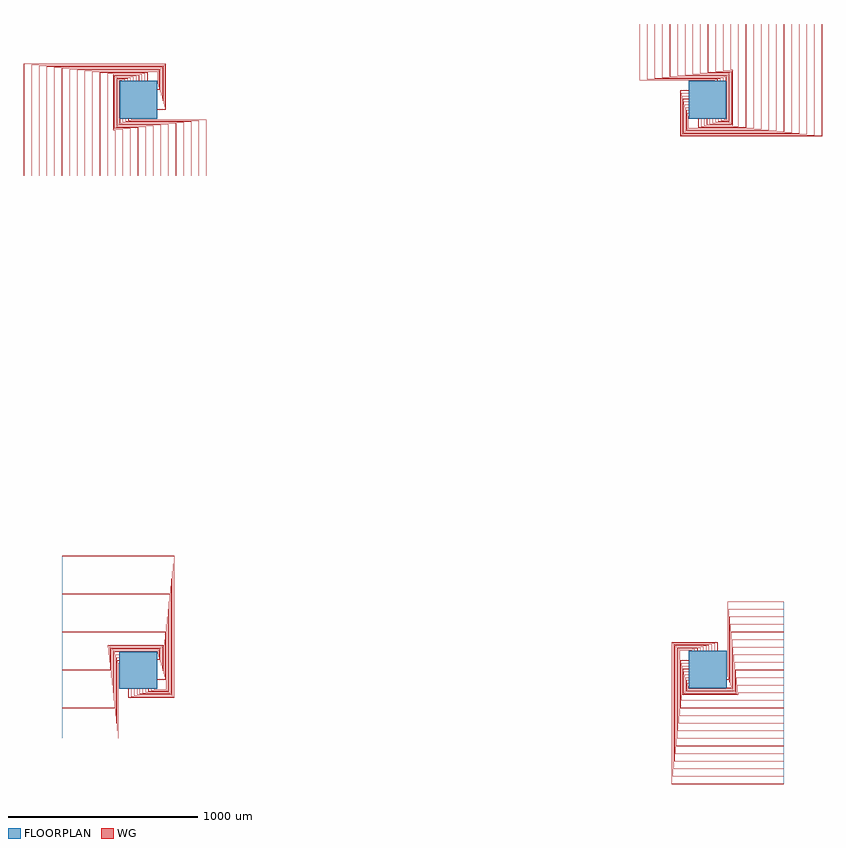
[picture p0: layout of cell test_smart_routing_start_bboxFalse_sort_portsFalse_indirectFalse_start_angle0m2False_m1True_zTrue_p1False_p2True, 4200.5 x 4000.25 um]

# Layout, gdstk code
import gdstk
lib = gdstk.Library(unit=1e-6, precision=1e-09)
def R(c, l, rs):  # rectangles x0, y0, x1, y1
    for r in rs: c.add(gdstk.rectangle(r[:2], r[2:], *l))
def P(c, l, *ps):  # polygons
    for p in ps: c.add(gdstk.Polygon(p, *l))
WG = (1, 0)
FLOORPLAN = (10, 0)

test_smart_routing_start = lib.new_cell('test_smart_routing_start_bboxFalse_sort_portsFalse_indirectFalse_start_angle0m2False_m1True_zTrue_p1False_p2True')
P(test_smart_routing_start, WG, [(-50.25,-145),(-50.25,-100),(-49.75,-100),(-49.75,-144.5),(189.5,-144.5),(189.5,599.75),(-400,599.75),(-400,600.25),(190,600.25),(190,-145)],
  [(-35.25,-140.5),(-35.25,-100),(-34.75,-100),(-34.75,-140),(185,-140),(185,559.75),(-400,559.75),(-400,560.25),(185.5,560.25),(185.5,-140.5)],
  [(-20.25,-136),(-20.25,-100),(-19.75,-100),(-19.75,-135.5),(180.5,-135.5),(180.5,519.75),(-400,519.75),(-400,520.25),(181,520.25),(181,-136)],
  [(-5.25,-131.5),(-5.25,-100),(-4.75,-100),(-4.75,-131),(176,-131),(176,479.75),(-400,479.75),(-400,480.25),(176.5,480.25),(176.5,-131.5)],
  [(9.75,-127),(9.75,-100),(10.25,-100),(10.25,-126.5),(171.5,-126.5),(171.5,439.75),(-400,439.75),(-400,440.25),(172,440.25),(172,-127)],
  [(24.75,-122.5),(24.75,-100),(25.25,-100),(25.25,-122),(167,-122),(167,399.75),(-400,399.75),(-400,400.25),(167.5,400.25),(167.5,-122.5)],
  [(39.75,-118),(39.75,-100),(40.25,-100),(40.25,-117.5),(162.5,-117.5),(162.5,359.75),(-400,359.75),(-400,360.25),(163,360.25),(163,-118)],
  [(54.75,-113.5),(54.75,-100),(55.25,-100),(55.25,-113),(158,-113),(158,319.75),(-400,319.75),(-400,320.25),(158.5,320.25),(158.5,-113.5)],
  [(69.75,-109),(69.75,-100),(70.25,-100),(70.25,-108.5),(153.5,-108.5),(153.5,279.75),(-400,279.75),(-400,280.25),(154,280.25),(154,-109)],
  [(84.75,-104.5),(84.75,-100),(85.25,-100),(85.25,-104),(149,-104),(149,239.75),(-400,239.75),(-400,240.25),(149.5,240.25),(149.5,-104.5)],
  [(100,-50.25),(100,-49.75),(144.5,-49.75),(144.5,199.75),(-400,199.75),(-400,200.25),(145,200.25),(145,-50.25)],
  [(100,-35.25),(100,-34.75),(140,-34.75),(140,159.75),(-400,159.75),(-400,160.25),(140.5,160.25),(140.5,-35.25)],
  [(100,-20.25),(100,-19.75),(135.5,-19.75),(135.5,130.75),(-158,130.75),(-158,119.75),(-400,119.75),(-400,120.25),(-158.5,120.25),(-158.5,131.25),(136,131.25),(136,-20.25)],
  [(100,-5.25),(100,-4.75),(131,-4.75),(131,126.25),(-153.5,126.25),(-153.5,79.75),(-400,79.75),(-400,80.25),(-154,80.25),(-154,126.75),(131.5,126.75),(131.5,-5.25)],
  [(100,9.75),(100,10.25),(126.5,10.25),(126.5,121.75),(-149,121.75),(-149,39.75),(-400,39.75),(-400,40.25),(-149.5,40.25),(-149.5,122.25),(127,122.25),(127,9.75)],
  [(-400,-0.25),(-400,0.25),(-145,0.25),(-145,117.75),(122.5,117.75),(122.5,24.75),(100,24.75),(100,25.25),(122,25.25),(122,117.25),(-144.5,117.25),(-144.5,-0.25)],
  [(-400,-40.25),(-400,-39.75),(-140.5,-39.75),(-140.5,113.25),(118,113.25),(118,39.75),(100,39.75),(100,40.25),(117.5,40.25),(117.5,112.75),(-140,112.75),(-140,-40.25)],
  [(-400,-80.25),(-400,-79.75),(-136,-79.75),(-136,108.75),(113.5,108.75),(113.5,54.75),(100,54.75),(100,55.25),(113,55.25),(113,108.25),(-135.5,108.25),(-135.5,-80.25)],
  [(-400,-120.25),(-400,-119.75),(-131.5,-119.75),(-131.5,104.25),(109,104.25),(109,69.75),(100,69.75),(100,70.25),(108.5,70.25),(108.5,103.75),(-131,103.75),(-131,-120.25)],
  [(-400,-160.25),(-400,-159.75),(-127,-159.75),(-127,99.75),(104.5,99.75),(104.5,84.75),(100,84.75),(100,85.25),(104,85.25),(104,99.25),(-126.5,99.25),(-126.5,-160.25)],
  [(-400,-360.25),(-400,-359.75),(-104.5,-359.75),(-104.5,35.25),(-100,35.25),(-100,34.75),(-104,34.75),(-104,-360.25)],
  [(-400,-320.25),(-400,-319.75),(-109,-319.75),(-109,50.25),(-100,50.25),(-100,49.75),(-108.5,49.75),(-108.5,-320.25)],
  [(-400,-280.25),(-400,-279.75),(-113.5,-279.75),(-113.5,65.25),(-100,65.25),(-100,64.75),(-113,64.75),(-113,-280.25)],
  [(-400,-240.25),(-400,-239.75),(-118,-239.75),(-118,80.25),(-100,80.25),(-100,79.75),(-117.5,79.75),(-117.5,-240.25)],
  [(-400,-200.25),(-400,-199.75),(-122.5,-199.75),(-122.5,95.25),(-100,95.25),(-100,94.75),(-122,94.75),(-122,-200.25)],
  [(-600.25,2600),(-600.25,3190),(145,3190),(145,2949.75),(100,2949.75),(100,2950.25),(144.5,2950.25),(144.5,3189.5),(-599.75,3189.5),(-599.75,2600)],
  [(-560.25,2600),(-560.25,3185.5),(140.5,3185.5),(140.5,2964.75),(100,2964.75),(100,2965.25),(140,2965.25),(140,3185),(-559.75,3185),(-559.75,2600)],
  [(-520.25,2600),(-520.25,3181),(136,3181),(136,2979.75),(100,2979.75),(100,2980.25),(135.5,2980.25),(135.5,3180.5),(-519.75,3180.5),(-519.75,2600)],
  [(-480.25,2600),(-480.25,3176.5),(131.5,3176.5),(131.5,2994.75),(100,2994.75),(100,2995.25),(131,2995.25),(131,3176),(-479.75,3176),(-479.75,2600)],
  [(-440.25,2600),(-440.25,3172),(127,3172),(127,3009.75),(100,3009.75),(100,3010.25),(126.5,3010.25),(126.5,3171.5),(-439.75,3171.5),(-439.75,2600)],
  [(-400.25,2600),(-400.25,3167.5),(122.5,3167.5),(122.5,3024.75),(100,3024.75),(100,3025.25),(122,3025.25),(122,3167),(-399.75,3167),(-399.75,2600)],
  [(-360.25,2600),(-360.25,3163),(118,3163),(118,3039.75),(100,3039.75),(100,3040.25),(117.5,3040.25),(117.5,3162.5),(-359.75,3162.5),(-359.75,2600)],
  [(-320.25,2600),(-320.25,3158.5),(113.5,3158.5),(113.5,3054.75),(100,3054.75),(100,3055.25),(113,3055.25),(113,3158),(-319.75,3158),(-319.75,2600)],
  [(-280.25,2600),(-280.25,3154),(109,3154),(109,3069.75),(100,3069.75),(100,3070.25),(108.5,3070.25),(108.5,3153.5),(-279.75,3153.5),(-279.75,2600)],
  [(-240.25,2600),(-240.25,3149.5),(104.5,3149.5),(104.5,3084.75),(100,3084.75),(100,3085.25),(104,3085.25),(104,3149),(-239.75,3149),(-239.75,2600)],
  [(-200.25,2600),(-200.25,3145),(50.25,3145),(50.25,3100),(49.75,3100),(49.75,3144.5),(-199.75,3144.5),(-199.75,2600)],
  [(-160.25,2600),(-160.25,3140.5),(35.25,3140.5),(35.25,3100),(34.75,3100),(34.75,3140),(-159.75,3140),(-159.75,2600)],
  [(-120.25,2600),(-120.25,2841.5),(-131.25,2841.5),(-131.25,3136),(20.25,3136),(20.25,3100),(19.75,3100),(19.75,3135.5),(-130.75,3135.5),(-130.75,2842),(-119.75,2842),(-119.75,2600)],
  [(-80.25,2600),(-80.25,2846),(-126.75,2846),(-126.75,3131.5),(5.25,3131.5),(5.25,3100),(4.75,3100),(4.75,3131),(-126.25,3131),(-126.25,2846.5),(-79.75,2846.5),(-79.75,2600)],
  [(-40.25,2600),(-40.25,2850.5),(-122.25,2850.5),(-122.25,3127),(-9.75,3127),(-9.75,3100),(-10.25,3100),(-10.25,3126.5),(-121.75,3126.5),(-121.75,2851),(-39.75,2851),(-39.75,2600)],
  [(-0.25,2600),(-0.25,2855),(-117.75,2855),(-117.75,3122.5),(-24.75,3122.5),(-24.75,3100),(-25.25,3100),(-25.25,3122),(-117.25,3122),(-117.25,2855.5),(0.25,2855.5),(0.25,2600)],
  [(39.75,2600),(39.75,2859.5),(-113.25,2859.5),(-113.25,3118),(-39.75,3118),(-39.75,3100),(-40.25,3100),(-40.25,3117.5),(-112.75,3117.5),(-112.75,2860),(40.25,2860),(40.25,2600)],
  [(79.75,2600),(79.75,2864),(-108.75,2864),(-108.75,3113.5),(-54.75,3113.5),(-54.75,3100),(-55.25,3100),(-55.25,3113),(-108.25,3113),(-108.25,2864.5),(80.25,2864.5),(80.25,2600)],
  [(119.75,2600),(119.75,2868.5),(-104.25,2868.5),(-104.25,3109),(-69.75,3109),(-69.75,3100),(-70.25,3100),(-70.25,3108.5),(-103.75,3108.5),(-103.75,2869),(120.25,2869),(120.25,2600)],
  [(159.75,2600),(159.75,2873),(-99.75,2873),(-99.75,3104.5),(-84.75,3104.5),(-84.75,3100),(-85.25,3100),(-85.25,3104),(-99.25,3104),(-99.25,2873.5),(160.25,2873.5),(160.25,2600)],
  [(359.75,2600),(359.75,2895.5),(-35.25,2895.5),(-35.25,2900),(-34.75,2900),(-34.75,2896),(360.25,2896),(360.25,2600)],
  [(319.75,2600),(319.75,2891),(-50.25,2891),(-50.25,2900),(-49.75,2900),(-49.75,2891.5),(320.25,2891.5),(320.25,2600)],
  [(279.75,2600),(279.75,2886.5),(-65.25,2886.5),(-65.25,2900),(-64.75,2900),(-64.75,2887),(280.25,2887),(280.25,2600)],
  [(239.75,2600),(239.75,2882),(-80.25,2882),(-80.25,2900),(-79.75,2900),(-79.75,2882.5),(240.25,2882.5),(240.25,2600)],
  [(199.75,2600),(199.75,2877.5),(-95.25,2877.5),(-95.25,2900),(-94.75,2900),(-94.75,2878),(200.25,2878),(200.25,2600)],
  [(2810,-600.25),(2810,145),(3050.25,145),(3050.25,100),(3049.75,100),(3049.75,144.5),(2810.5,144.5),(2810.5,-599.75),(3400,-599.75),(3400,-600.25)],
  [(2814.5,-560.25),(2814.5,140.5),(3035.25,140.5),(3035.25,100),(3034.75,100),(3034.75,140),(2815,140),(2815,-559.75),(3400,-559.75),(3400,-560.25)],
  [(2819,-520.25),(2819,136),(3020.25,136),(3020.25,100),(3019.75,100),(3019.75,135.5),(2819.5,135.5),(2819.5,-519.75),(3400,-519.75),(3400,-520.25)],
  [(2823.5,-480.25),(2823.5,131.5),(3005.25,131.5),(3005.25,100),(3004.75,100),(3004.75,131),(2824,131),(2824,-479.75),(3400,-479.75),(3400,-480.25)],
  [(2828,-440.25),(2828,127),(2990.25,127),(2990.25,100),(2989.75,100),(2989.75,126.5),(2828.5,126.5),(2828.5,-439.75),(3400,-439.75),(3400,-440.25)],
  [(2832.5,-400.25),(2832.5,122.5),(2975.25,122.5),(2975.25,100),(2974.75,100),(2974.75,122),(2833,122),(2833,-399.75),(3400,-399.75),(3400,-400.25)],
  [(2837,-360.25),(2837,118),(2960.25,118),(2960.25,100),(2959.75,100),(2959.75,117.5),(2837.5,117.5),(2837.5,-359.75),(3400,-359.75),(3400,-360.25)],
  [(2841.5,-320.25),(2841.5,113.5),(2945.25,113.5),(2945.25,100),(2944.75,100),(2944.75,113),(2842,113),(2842,-319.75),(3400,-319.75),(3400,-320.25)],
  [(2846,-280.25),(2846,109),(2930.25,109),(2930.25,100),(2929.75,100),(2929.75,108.5),(2846.5,108.5),(2846.5,-279.75),(3400,-279.75),(3400,-280.25)],
  [(2850.5,-240.25),(2850.5,104.5),(2915.25,104.5),(2915.25,100),(2914.75,100),(2914.75,104),(2851,104),(2851,-239.75),(3400,-239.75),(3400,-240.25)],
  [(2855,-200.25),(2855,50.25),(2900,50.25),(2900,49.75),(2855.5,49.75),(2855.5,-199.75),(3400,-199.75),(3400,-200.25)],
  [(2859.5,-160.25),(2859.5,35.25),(2900,35.25),(2900,34.75),(2860,34.75),(2860,-159.75),(3400,-159.75),(3400,-160.25)],
  [(2864,-131.25),(2864,20.25),(2900,20.25),(2900,19.75),(2864.5,19.75),(2864.5,-130.75),(3158,-130.75),(3158,-119.75),(3400,-119.75),(3400,-120.25),(3158.5,-120.25),(3158.5,-131.25)],
  [(2868.5,-126.75),(2868.5,5.25),(2900,5.25),(2900,4.75),(2869,4.75),(2869,-126.25),(3153.5,-126.25),(3153.5,-79.75),(3400,-79.75),(3400,-80.25),(3154,-80.25),(3154,-126.75)],
  [(2873,-122.25),(2873,-9.75),(2900,-9.75),(2900,-10.25),(2873.5,-10.25),(2873.5,-121.75),(3149,-121.75),(3149,-39.75),(3400,-39.75),(3400,-40.25),(3149.5,-40.25),(3149.5,-122.25)],
  [(2877.5,-117.75),(2877.5,-24.75),(2900,-24.75),(2900,-25.25),(2878,-25.25),(2878,-117.25),(3144.5,-117.25),(3144.5,0.25),(3400,0.25),(3400,-0.25),(3145,-0.25),(3145,-117.75)],
  [(2882,-113.25),(2882,-39.75),(2900,-39.75),(2900,-40.25),(2882.5,-40.25),(2882.5,-112.75),(3140,-112.75),(3140,40.25),(3400,40.25),(3400,39.75),(3140.5,39.75),(3140.5,-113.25)],
  [(2886.5,-108.75),(2886.5,-54.75),(2900,-54.75),(2900,-55.25),(2887,-55.25),(2887,-108.25),(3135.5,-108.25),(3135.5,80.25),(3400,80.25),(3400,79.75),(3136,79.75),(3136,-108.75)],
  [(2891,-104.25),(2891,-69.75),(2900,-69.75),(2900,-70.25),(2891.5,-70.25),(2891.5,-103.75),(3131,-103.75),(3131,120.25),(3400,120.25),(3400,119.75),(3131.5,119.75),(3131.5,-104.25)],
  [(2895.5,-99.75),(2895.5,-84.75),(2900,-84.75),(2900,-85.25),(2896,-85.25),(2896,-99.25),(3126.5,-99.25),(3126.5,160.25),(3400,160.25),(3400,159.75),(3127,159.75),(3127,-99.75)],
  [(3100,-35.25),(3100,-34.75),(3104,-34.75),(3104,360.25),(3400,360.25),(3400,359.75),(3104.5,359.75),(3104.5,-35.25)],
  [(3100,-50.25),(3100,-49.75),(3108.5,-49.75),(3108.5,320.25),(3400,320.25),(3400,319.75),(3109,319.75),(3109,-50.25)],
  [(3100,-65.25),(3100,-64.75),(3113,-64.75),(3113,280.25),(3400,280.25),(3400,279.75),(3113.5,279.75),(3113.5,-65.25)],
  [(3100,-80.25),(3100,-79.75),(3117.5,-79.75),(3117.5,240.25),(3400,240.25),(3400,239.75),(3118,239.75),(3118,-80.25)],
  [(3100,-95.25),(3100,-94.75),(3122,-94.75),(3122,200.25),(3400,200.25),(3400,199.75),(3122.5,199.75),(3122.5,-95.25)],
  [(2855,2810),(2855,3050.25),(2900,3050.25),(2900,3049.75),(2855.5,3049.75),(2855.5,2810.5),(3599.75,2810.5),(3599.75,3400),(3600.25,3400),(3600.25,2810)],
  [(2859.5,2814.5),(2859.5,3035.25),(2900,3035.25),(2900,3034.75),(2860,3034.75),(2860,2815),(3559.75,2815),(3559.75,3400),(3560.25,3400),(3560.25,2814.5)],
  [(2864,2819),(2864,3020.25),(2900,3020.25),(2900,3019.75),(2864.5,3019.75),(2864.5,2819.5),(3519.75,2819.5),(3519.75,3400),(3520.25,3400),(3520.25,2819)],
  [(2868.5,2823.5),(2868.5,3005.25),(2900,3005.25),(2900,3004.75),(2869,3004.75),(2869,2824),(3479.75,2824),(3479.75,3400),(3480.25,3400),(3480.25,2823.5)],
  [(2873,2828),(2873,2990.25),(2900,2990.25),(2900,2989.75),(2873.5,2989.75),(2873.5,2828.5),(3439.75,2828.5),(3439.75,3400),(3440.25,3400),(3440.25,2828)],
  [(2877.5,2832.5),(2877.5,2975.25),(2900,2975.25),(2900,2974.75),(2878,2974.75),(2878,2833),(3399.75,2833),(3399.75,3400),(3400.25,3400),(3400.25,2832.5)],
  [(2882,2837),(2882,2960.25),(2900,2960.25),(2900,2959.75),(2882.5,2959.75),(2882.5,2837.5),(3359.75,2837.5),(3359.75,3400),(3360.25,3400),(3360.25,2837)],
  [(2886.5,2841.5),(2886.5,2945.25),(2900,2945.25),(2900,2944.75),(2887,2944.75),(2887,2842),(3319.75,2842),(3319.75,3400),(3320.25,3400),(3320.25,2841.5)],
  [(2891,2846),(2891,2930.25),(2900,2930.25),(2900,2929.75),(2891.5,2929.75),(2891.5,2846.5),(3279.75,2846.5),(3279.75,3400),(3280.25,3400),(3280.25,2846)],
  [(2895.5,2850.5),(2895.5,2915.25),(2900,2915.25),(2900,2914.75),(2896,2914.75),(2896,2851),(3239.75,2851),(3239.75,3400),(3240.25,3400),(3240.25,2850.5)],
  [(2949.75,2855),(2949.75,2900),(2950.25,2900),(2950.25,2855.5),(3199.75,2855.5),(3199.75,3400),(3200.25,3400),(3200.25,2855)],
  [(2964.75,2859.5),(2964.75,2900),(2965.25,2900),(2965.25,2860),(3159.75,2860),(3159.75,3400),(3160.25,3400),(3160.25,2859.5)],
  [(2979.75,2864),(2979.75,2900),(2980.25,2900),(2980.25,2864.5),(3130.75,2864.5),(3130.75,3158),(3119.75,3158),(3119.75,3400),(3120.25,3400),(3120.25,3158.5),(3131.25,3158.5),(3131.25,2864)],
  [(2994.75,2868.5),(2994.75,2900),(2995.25,2900),(2995.25,2869),(3126.25,2869),(3126.25,3153.5),(3079.75,3153.5),(3079.75,3400),(3080.25,3400),(3080.25,3154),(3126.75,3154),(3126.75,2868.5)],
  [(3009.75,2873),(3009.75,2900),(3010.25,2900),(3010.25,2873.5),(3121.75,2873.5),(3121.75,3149),(3039.75,3149),(3039.75,3400),(3040.25,3400),(3040.25,3149.5),(3122.25,3149.5),(3122.25,2873)],
  [(3024.75,2877.5),(3024.75,2900),(3025.25,2900),(3025.25,2878),(3117.25,2878),(3117.25,3144.5),(2999.75,3144.5),(2999.75,3400),(3000.25,3400),(3000.25,3145),(3117.75,3145),(3117.75,2877.5)],
  [(3039.75,2882),(3039.75,2900),(3040.25,2900),(3040.25,2882.5),(3112.75,2882.5),(3112.75,3140),(2959.75,3140),(2959.75,3400),(2960.25,3400),(2960.25,3140.5),(3113.25,3140.5),(3113.25,2882)],
  [(3054.75,2886.5),(3054.75,2900),(3055.25,2900),(3055.25,2887),(3108.25,2887),(3108.25,3135.5),(2919.75,3135.5),(2919.75,3400),(2920.25,3400),(2920.25,3136),(3108.75,3136),(3108.75,2886.5)],
  [(3069.75,2891),(3069.75,2900),(3070.25,2900),(3070.25,2891.5),(3103.75,2891.5),(3103.75,3131),(2879.75,3131),(2879.75,3400),(2880.25,3400),(2880.25,3131.5),(3104.25,3131.5),(3104.25,2891)],
  [(3084.75,2895.5),(3084.75,2900),(3085.25,2900),(3085.25,2896),(3099.25,2896),(3099.25,3126.5),(2839.75,3126.5),(2839.75,3400),(2840.25,3400),(2840.25,3127),(3099.75,3127),(3099.75,2895.5)],
  [(3034.75,3100),(3034.75,3104),(2639.75,3104),(2639.75,3400),(2640.25,3400),(2640.25,3104.5),(3035.25,3104.5),(3035.25,3100)],
  [(3049.75,3100),(3049.75,3108.5),(2679.75,3108.5),(2679.75,3400),(2680.25,3400),(2680.25,3109),(3050.25,3109),(3050.25,3100)],
  [(3064.75,3100),(3064.75,3113),(2719.75,3113),(2719.75,3400),(2720.25,3400),(2720.25,3113.5),(3065.25,3113.5),(3065.25,3100)],
  [(3079.75,3100),(3079.75,3117.5),(2759.75,3117.5),(2759.75,3400),(2760.25,3400),(2760.25,3118),(3080.25,3118),(3080.25,3100)],
  [(3094.75,3100),(3094.75,3122),(2799.75,3122),(2799.75,3400),(2800.25,3400),(2800.25,3122.5),(3095.25,3122.5),(3095.25,3100)])
R(test_smart_routing_start, FLOORPLAN, [(-100,-100,100,95), (2900,-95,3100,100), (-95,2900,100,3100), (2900,2900,3095,3100)])
P(test_smart_routing_start, FLOORPLAN, [(-400,-360),(-400,600),(-400,600),(-400,-360)],
  [(-600,2600),(-600,2600),(360,2600),(360,2600)],
  [(3400,-600),(3400,360),(3400,360),(3400,-600)],
  [(2640,3400),(2640,3400),(3600,3400),(3600,3400)])

lib.write_gds('test_smart_routing_start_bboxFalse_sort_portsFalse_indirectFalse_start_angle0m2False_m1True_zTrue_p1False_p2True.gds')
